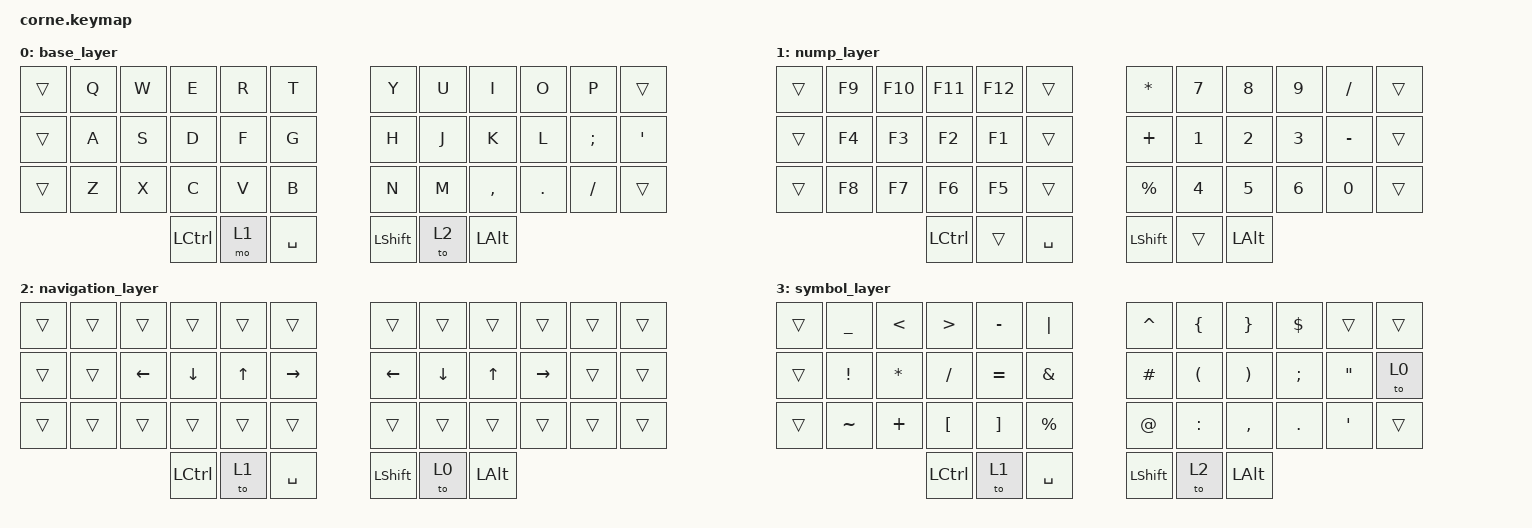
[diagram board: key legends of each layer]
/*
 * Copyright (c) 2020 The ZMK Contributors
 *
 * SPDX-License-Identifier: MIT
 */

#include <behaviors.dtsi>
#include <dt-bindings/zmk/keys.h>

/ {
    combos {
        compatible = "zmk,combos";

        enter {
            bindings = <&kp ENTER>;
            key-positions = <19 20>;
        };

        tab {
            bindings = <&kp TAB>;
            key-positions = <2 1>;
        };

        ctrl+shift {
            bindings = <&kp LC(LEFT_SHIFT)>;
            key-positions = <25 26>;
        };

        backspace {
            bindings = <&kp BACKSPACE>;
            key-positions = <16 15>;
        };

        ctrl+backspace {
            bindings = <&kp LC(BACKSPACE)>;
            key-positions = <28 27>;
        };

        symbol_layer {
            bindings = <&to 3>;
            key-positions = <32 33>;
        };
    };

    keymap {
        compatible = "zmk,keymap";

        base_layer {
            // -----------------------------------------------------------------------------------------
            // |  TAB |  Q  |  W  |  E  |  R  |  T  |   |  Y  |  U   |  I  |  O  |  P  | BKSP |
            // | CTRL |  A  |  S  |  D  |  F  |  G  |   |  H  |  J   |  K  |  L  |  ;  |  '   |
            // | SHFT |  Z  |  X  |  C  |  V  |  B  |   |  N  |  M   |  ,  |  .  |  /  | ESC  |
            //                    | GUI | LWR | SPC |   | ENT | RSE  | ALT |

            bindings = <
&trans  &kp Q  &kp W  &kp E             &kp R  &kp T        &kp Y           &kp U  &kp I         &kp O    &kp P     &trans
&trans  &kp A  &kp S  &kp D             &kp F  &kp G        &kp H           &kp J  &kp K         &kp L    &kp SEMI  &kp APOS
&trans  &kp Z  &kp X  &kp C             &kp V  &kp B        &kp N           &kp M  &kp COMMA     &kp DOT  &kp FSLH  &trans
                      &kp LEFT_CONTROL  &mo 1  &kp SPACE    &kp LEFT_SHIFT  &to 2  &kp LEFT_ALT
            >;
        };

        nump_layer {
            // -----------------------------------------------------------------------------------------
            // |  TAB |  1  |  2  |  3  |  4  |  5  |   |  6  |  7  |  8  |  9  |  0  | BKSP |
            // | BTCLR| BT1 | BT2 | BT3 | BT4 | BT5 |   | LFT | DWN |  UP | RGT |     |      |
            // | SHFT |     |     |     |     |     |   |     |     |     |     |     |      |
            //                    | GUI |     | SPC |   | ENT |     | ALT |

            bindings = <
&trans  &kp F9  &kp F10  &kp F11           &kp F12  &trans       &kp STAR        &kp N7  &kp N8        &kp N9  &kp SLASH  &trans
&trans  &kp F4  &kp F3   &kp F2            &kp F1   &trans       &kp PLUS        &kp N1  &kp N2        &kp N3  &kp MINUS  &trans
&trans  &kp F8  &kp F7   &kp F6            &kp F5   &trans       &kp PERCENT     &kp N4  &kp N5        &kp N6  &kp N0     &trans
                         &kp LEFT_CONTROL  &trans   &kp SPACE    &kp LEFT_SHIFT  &trans  &kp LEFT_ALT
            >;
        };

        navigation_layer {
            bindings = <
&trans  &trans  &trans          &trans            &trans        &trans             &trans          &trans          &trans        &trans           &trans  &trans
&trans  &trans  &kp LEFT_ARROW  &kp DOWN_ARROW    &kp UP_ARROW  &kp RIGHT_ARROW    &kp LEFT_ARROW  &kp DOWN_ARROW  &kp UP_ARROW  &kp RIGHT_ARROW  &trans  &trans
&trans  &trans  &trans          &trans            &trans        &trans             &trans          &trans          &trans        &trans           &trans  &trans
                                &kp LEFT_CONTROL  &to 1         &kp SPACE          &kp LSHFT       &to 0           &kp LEFT_ALT
            >;
        };

        symbol_layer {
            bindings = <
&trans  &kp UNDER        &kp LESS_THAN  &kp GREATER_THAN  &kp MINUS  &kp PIPE         &kp CARET       &kp LEFT_BRACE        &kp RIGHT_BRACE        &kp DOLLAR  &trans             &trans
&trans  &kp EXCLAMATION  &kp STAR       &kp SLASH         &kp EQUAL  &kp AMPERSAND    &kp HASH        &kp LEFT_PARENTHESIS  &kp RIGHT_PARENTHESIS  &kp SEMI    &kp DOUBLE_QUOTES  &to 0
&trans  &kp TILDE        &kp PLUS       &kp LBKT          &kp RBKT   &kp PERCENT      &kp AT_SIGN     &kp COLON             &kp COMMA              &kp DOT     &kp APOS           &trans
                                        &kp LEFT_CONTROL  &to 1      &kp SPACE        &kp LEFT_SHIFT  &to 2                 &kp LEFT_ALT
            >;
        };
    };
};
